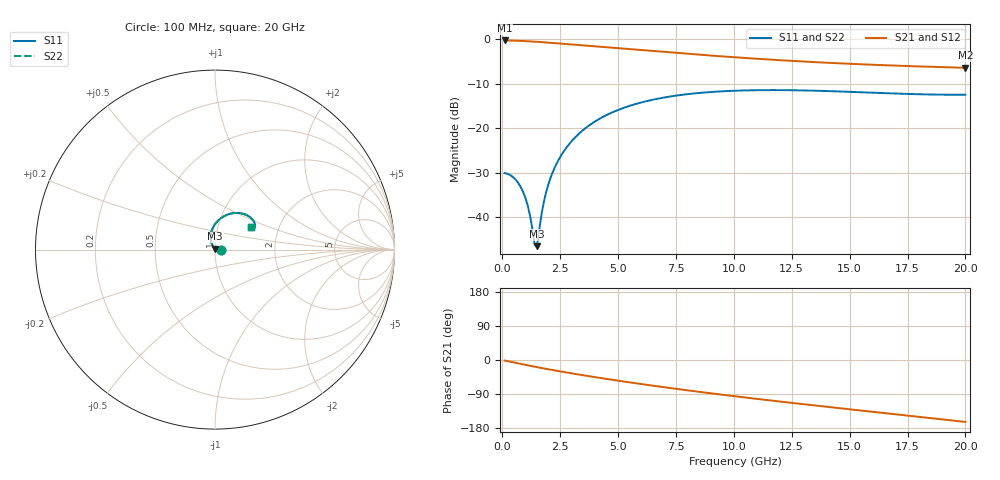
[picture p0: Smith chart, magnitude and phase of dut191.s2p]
! Created with skrf 1.9.0 (http://scikit-rf.org).
# GHz S RI R 50.0
!freq ReS11 ImS11 ReS21 ImS21 ReS12 ImS12 ReS22 ImS22
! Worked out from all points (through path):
!   200 points, 100 MHz to 20 GHz, reference 50 ohm
!   highest |S21| = -0.28 dB at 100 MHz (marker M1); lowest = -6.4 dB at 20 GHz (marker M2)
!   group delay of S21, straight-line fit = 21.7 ps
!   lowest |S11| = -46.5 dB at 1.5 GHz (marker M3), VSWR 1.01, Z = 50.1 + j0.453 ohm
!   |S11| at or under -10 dB: start of sweep to end of sweep
!   |S22| runs from -46.5 to -11.4 dB; largest |S21 - S12| = 3.1e-15
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0.1  0.0313 -0.000654  0.9681 -0.0225  0.9681 -0.0225  0.0313 -0.000654
0.5  0.0273 -0.00411  0.9579 -0.1094  0.9579 -0.1094  0.0273 -0.00411
0.7  0.0235 -0.00475  0.9481 -0.1514  0.9481 -0.1514  0.0235 -0.00475
0.9  0.0186 -0.00435  0.9356 -0.1919  0.9356 -0.1919  0.0186 -0.00435
1.1  0.0131 -0.00272  0.9207 -0.2308  0.9207 -0.2308  0.0131 -0.00272
1.2  0.0102 -0.00142  0.9124 -0.2495  0.9124 -0.2495  0.0102 -0.00142
1.4  0.00431 0.00221  0.8944 -0.2854  0.8944 -0.2854  0.00431 0.00221
1.5  0.00135 0.00452  0.8848 -0.3027  0.8848 -0.3027  0.00135 0.00452
1.7  -0.00436 0.0101  0.8644 -0.3357  0.8644 -0.3357  -0.00436 0.0101
1.8  -0.00706 0.0133  0.8538 -0.3514  0.8538 -0.3514  -0.00706 0.0133
2  -0.012 0.0206  0.8318 -0.3814  0.8318 -0.3814  -0.012 0.0206
2.2  -0.0163 0.0288  0.8088 -0.4094  0.8088 -0.4094  -0.0163 0.0288
2.5  -0.021 0.0424  0.7732 -0.4481  0.7732 -0.4481  -0.021 0.0424
2.8  -0.0237 0.0573  0.7366 -0.4829  0.7366 -0.4829  -0.0237 0.0573
3.5  -0.0214 0.0933  0.6488 -0.5508  0.6488 -0.5508  -0.0214 0.0933
4.1  -0.011 0.1227  0.5725 -0.596  0.5725 -0.596  -0.011 0.1227
4.9  0.0118 0.1559  0.4715 -0.6399  0.4715 -0.6399  0.0118 0.1559
6.8  0.0841 0.1996  0.2451 -0.6826  0.2451 -0.6826  0.0841 0.1996
10.1  0.1863 0.1869  -0.0665 -0.6215  -0.0665 -0.6215  0.1863 0.1869
13.4  0.2223 0.1428  -0.2715 -0.4833  -0.2715 -0.4833  0.2223 0.1428
16.7  0.2159 0.1189  -0.397 -0.3169  -0.397 -0.3169  0.2159 0.1189
20  0.2007 0.1274  -0.4571 -0.1367  -0.4571 -0.1367  0.2007 0.1274
